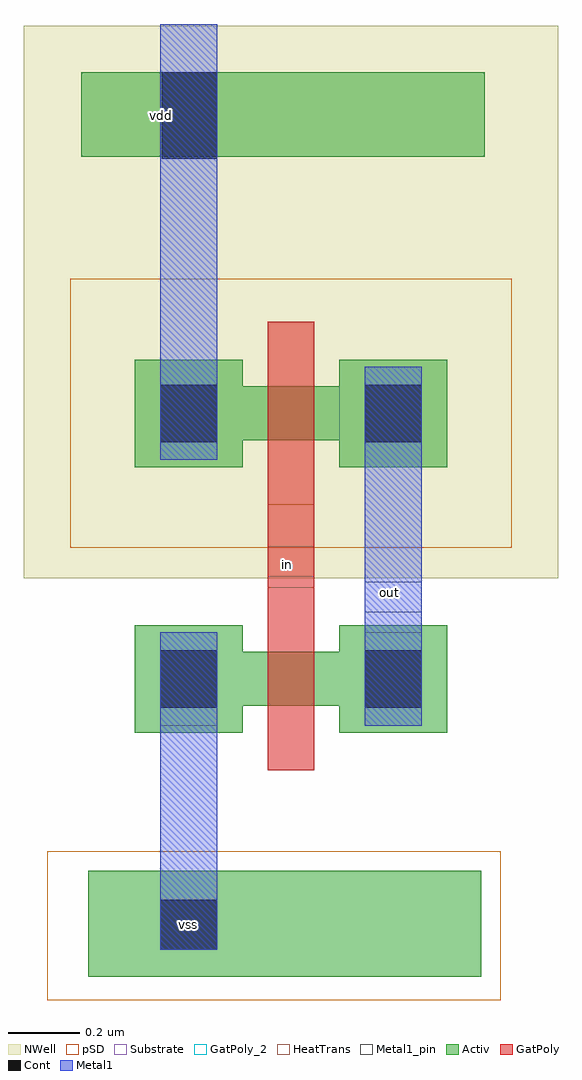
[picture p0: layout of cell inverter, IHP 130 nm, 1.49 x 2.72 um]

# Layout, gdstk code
import gdstk
lib = gdstk.Library(unit=1e-6, precision=5e-09)
def R(c, l, rs):  # rectangles x0, y0, x1, y1
    for r in rs: c.add(gdstk.rectangle(r[:2], r[2:], *l))
Activ = (1, 0)
GatPoly = (5, 0)
GatPoly_2 = (5, 2)
Cont = (6, 0)
Metal1 = (8, 0)
Metal1_pin = (8, 2)
pSD = (14, 0)
NWell = (31, 0)
Substrate = (40, 0)
HeatTrans = (51, 0)

pmos = lib.new_cell('pmos')
R(pmos, Activ, [(0,0,0.3,0.3), (0.57,0,0.87,0.3), (0,0.075,0.87,0.225)])
R(pmos, GatPoly, [(0.37,-0.105,0.5,0.405), (0.37,-0.105,0.5,0.405)])
R(pmos, Cont, [(0.07,0.07,0.23,0.23), (0.64,0.07,0.8,0.23)])
R(pmos, Metal1, [(0.07,0.02,0.23,0.28), (0.07,0.02,0.23,0.28), (0.64,0.02,0.8,0.28), (0.64,0.02,0.8,0.28)])
R(pmos, pSD, [(-0.18,-0.225,1.05,0.525)])
R(pmos, NWell, [(-0.31,-0.31,1.18,0.61)])
R(pmos, Substrate, [(0.57,0,0.87,0.3)])
R(pmos, HeatTrans, [(0.37,-0.105,0.5,0.405)])
pmos.add(gdstk.Label('pmos', (0.435,0.15), layer=63, texttype=0))
pmos.add(gdstk.Label('pmos', (0.435,0.15), layer=51, texttype=0))

nmos = lib.new_cell('nmos')
R(nmos, Activ, [(0,0,0.3,0.3), (0.57,0,0.87,0.3), (0,0.075,0.87,0.225)])
R(nmos, GatPoly, [(0.37,-0.105,0.5,0.405)])
R(nmos, GatPoly_2, [(0.37,-0.105,0.5,0.405)])
R(nmos, Cont, [(0.07,0.07,0.23,0.23), (0.64,0.07,0.8,0.23)])
R(nmos, Metal1, [(0.07,0.02,0.23,0.28), (0.64,0.02,0.8,0.28)])
R(nmos, Metal1_pin, [(0.07,0.02,0.23,0.28), (0.64,0.02,0.8,0.28)])
R(nmos, HeatTrans, [(0.37,-0.105,0.5,0.405)])
nmos.add(gdstk.Label('nmos', (0.435,0.15), layer=63, texttype=0))
nmos.add(gdstk.Label('nmos', (0.435,0.15), layer=51, texttype=0))

inverter = lib.new_cell('inverter')
R(inverter, Activ, [(-0.745,-1.005,0.35,-0.71), (-0.765,1.28,0.36,1.515)])
R(inverter, GatPoly, [(-0.245,0.08,-0.115,0.31), (-0.245,0.08,-0.115,0.31)])
R(inverter, GatPoly_2, [(-0.245,0.11,-0.115,0.195)])
R(inverter, Cont, [(-0.545,-0.93,-0.385,-0.79), (-0.54,1.275,-0.385,1.515)])
R(inverter, Metal1, [(-0.545,-0.93,-0.385,-0.045), (0.025,-0.045,0.185,0.435), (-0.545,0.435,-0.385,1.65)])
R(inverter, Metal1_pin, [(0.025,0.01,0.185,0.095)])
R(inverter, pSD, [(-0.86,-1.07,0.405,-0.655)])
R(inverter, NWell, [(-0.925,1.025,0.565,1.645)])
inverter.add(gdstk.Reference(pmos, (-0.615,0.415)))
inverter.add(gdstk.Reference(nmos, (-0.615,-0.325)))
inverter.add(gdstk.Label('vss', (-0.465,-0.86), layer=14, texttype=0))
inverter.add(gdstk.Label('vdd', (-0.54,1.395), layer=14, texttype=0))
inverter.add(gdstk.Label('out', (0.095,0.065), layer=8, texttype=2))
inverter.add(gdstk.Label('in', (-0.19,0.145), layer=5, texttype=2))

lib.write_gds('inverter.gds')
